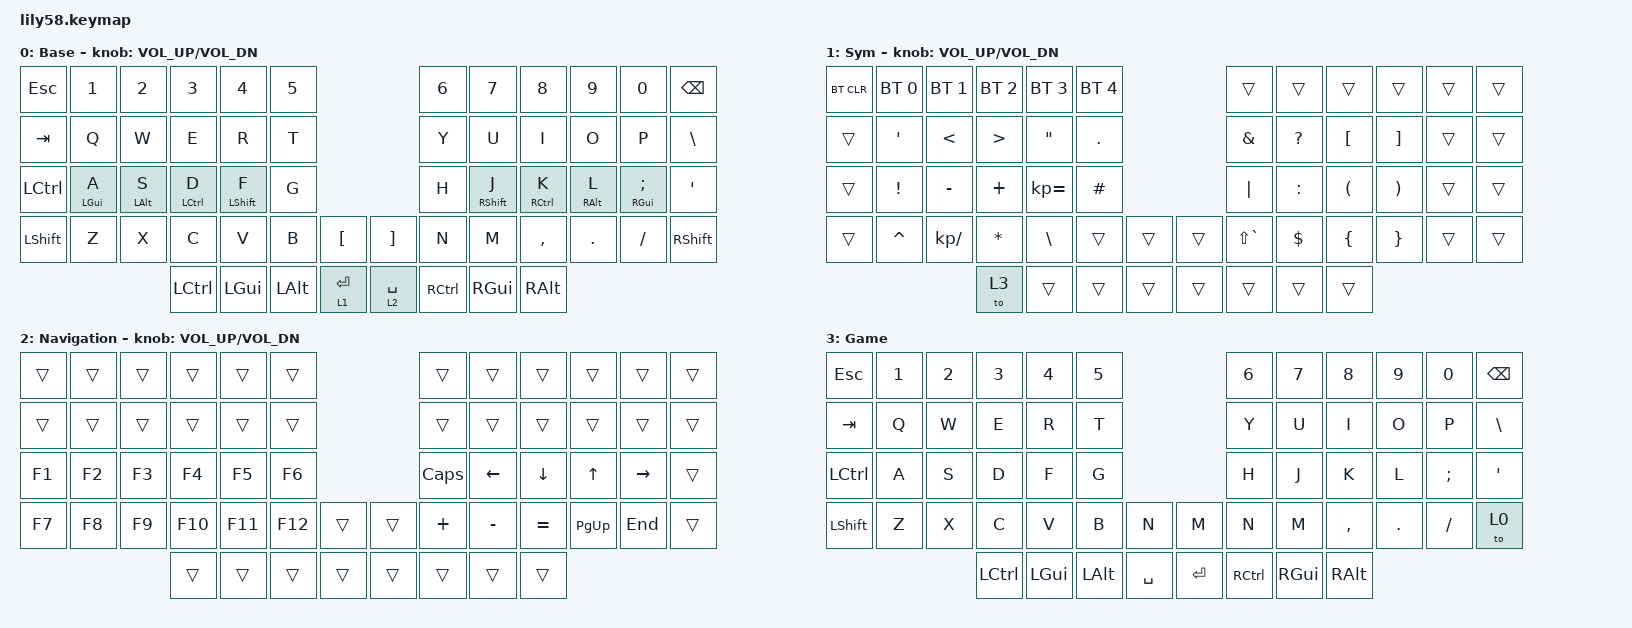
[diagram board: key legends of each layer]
/*
 * Copyright (c) 2020 The ZMK Contributors
 *
 * SPDX-License-Identifier: MIT
 */

#include <behaviors.dtsi>
#include <dt-bindings/zmk/bt.h>
#include <dt-bindings/zmk/keys.h>

/ {
    behaviors {
        RIGHT_HOLD_TAP: RIGHT_HOLD_TAP {
            compatible = "zmk,behavior-hold-tap";
            label = "RIGHT_HOLD_TAP";
            bindings = <&kp>, <&kp>;

            #binding-cells = <2>;
            tapping-term-ms = <280>;
            flavor = "balanced";
            hold-trigger-key-positions = <53 54 0 1 2 3 4 5 17 16 15 14 13 12 24 25 26 27 28 29 42 41 40 39 38 37 36 50 51 52 55 56 57>;
            quick-tap-ms = <175>;
            require-prior-idle-ms = <150>;
            hold-trigger-on-release;
        };

        LEFT_HOLD_TAP: LEFT_HOLD_TAP {
            compatible = "zmk,behavior-hold-tap";
            label = "LEFT_HOLD_TAP";
            #binding-cells = <2>;
            tapping-term-ms = <280>;
            flavor = "balanced";
            hold-trigger-key-positions = <53 54 50 51 52 55 56 57 6 7 8 9 10 11 23 22 21 20 19 18 30 43 44 31 45 32 46 33 47 34 48 35 49>;
            bindings = <&kp>, <&kp>;

            quick-tap-ms = <175>;
            hold-trigger-on-release;
            require-prior-idle-ms = <150>;
        };
    };

    keymap {
        compatible = "zmk,keymap";

        default_layer {
            // ------------------------------------------------------------------------------------------------------------
            // |  ESC  |  1  |  2  |  3   |  4   |  5   |                   |  6   |  7    |  8    |  9   |   0   |   `   |
            // |  TAB  |  Q  |  W  |  E   |  R   |  T   |                   |  Y   |  U    |  I    |  O   |   P   |   -   |
            // |  CTRL |  A  |  S  |  D   |  F   |  G   |                   |  H   |  J    |  K    |  L   |   ;   |   '   |
            // | SHIFT |  Z  |  X  |  C   |  V   |  B   |   "["  |  |  "]"  |  N   |  M    |  ,    |  .   |   /   | SHIFT |
            //                     | ALT  | GUI  | LOWER|  SPACE |  | ENTER | RAISE| BSPC  | GUI   |

            display-name = "Base";
            bindings = <
&kp ESC           &kp N1                     &kp N2                     &kp N3                         &kp N4                       &kp N5                                    &kp N6             &kp N7                         &kp N8                           &kp N9                       &kp N0                               &kp BACKSPACE
&kp TAB           &kp Q                      &kp W                      &kp E                          &kp R                        &kp T                                     &kp Y              &kp U                          &kp I                            &kp O                        &kp P                                &kp BACKSLASH
&kp LEFT_CONTROL  &LEFT_HOLD_TAP LEFT_GUI A  &LEFT_HOLD_TAP LEFT_ALT S  &LEFT_HOLD_TAP LEFT_CONTROL D  &LEFT_HOLD_TAP LEFT_SHIFT F  &kp G                                     &kp H              &RIGHT_HOLD_TAP RIGHT_SHIFT J  &RIGHT_HOLD_TAP RIGHT_CONTROL K  &RIGHT_HOLD_TAP RIGHT_ALT L  &RIGHT_HOLD_TAP RIGHT_GUI SEMICOLON  &kp SQT
&kp LSHFT         &kp Z                      &kp X                      &kp C                          &kp V                        &kp B         &kp LBKT       &kp RBKT     &kp N              &kp M                          &kp COMMA                        &kp DOT                      &kp FSLH                             &kp RSHFT
                                                                        &kp LEFT_CONTROL               &kp LGUI                     &kp LEFT_ALT  &lt 1 ENTER    &lt 2 SPACE  &kp RIGHT_CONTROL  &kp RGUI                       &kp RIGHT_ALT
            >;

            sensor-bindings = <&inc_dec_kp C_VOL_UP C_VOL_DN>;
        };

        symbols {
            // ------------------------------------------------------------------------------------------------------------
            // | BTCLR | BT1 | BT2 |  BT3 |  BT4 |  BT5 |                   |      |       |       |      |       |       |
            // |  F1   |  F2 |  F3 |  F4  |  F5  |  F6  |                   |  F7  |  F8   |  F9   |  F10 |  F11  |  F12  |
            // |   `   |  !  |  @  |  #   |  $   |  %   |                   |  ^   |  &    |  *    |  (   |   )   |   ~   |
            // |       |     |     |      |      |      |        |  |       |      |  _    |  +    |  {   |   }   |  "|"  |
            //                     |      |      |      |        |  |       |      |       |       |

            display-name = "Sym";
            bindings = <
&bt BT_CLR  &bt BT_SEL 0     &bt BT_SEL 1   &bt BT_SEL 2      &bt BT_SEL 3       &bt BT_SEL 4                    &trans         &trans        &trans                &trans                 &trans  &trans
&trans      &kp SQT          &kp LESS_THAN  &kp GREATER_THAN  &kp DOUBLE_QUOTES  &kp PERIOD                      &kp AMPS       &kp QUESTION  &kp LEFT_BRACKET      &kp RIGHT_BRACKET      &trans  &trans
&trans      &kp EXCLAMATION  &kp MINUS      &kp PLUS          &kp KP_EQUAL       &kp HASH                        &kp PIPE       &kp COLON     &kp LEFT_PARENTHESIS  &kp RIGHT_PARENTHESIS  &trans  &trans
&trans      &kp CARET        &kp KP_DIVIDE  &kp ASTRK         &kp BACKSLASH      &trans        &trans    &trans  &kp LS(GRAVE)  &kp DOLLAR    &kp LEFT_BRACE        &kp RIGHT_BRACE        &trans  &trans
                                            &to 3             &trans             &trans        &trans    &trans  &trans         &trans        &trans
            >;

            sensor-bindings = <&inc_dec_kp C_VOL_UP C_VOL_DN>;
            label = "Sym";
        };

        navigation {
            // ------------------------------------------------------------------------------------------------------------
            // |       |     |     |      |      |      |                   |      |       |       |      |       |       |
            // |   `   |  1  |  2  |  3   |  4   |  5   |                   |  6   |   7   |   8   |  9   |   0   |       |
            // |   F1  |  F2 |  F3 |  F4  |  F5  |  F6  |                   |      |   <-  |   v   |  ^   |  ->   |       |
            // |   F7  |  F8 |  F9 |  F10 |  F11 |  F12 |        |  |       |  +   |   -   |   =   |  [   |   ]   |   \   |
            //                     |      |      |      |        |  |       |      |       |       |

            display-name = "Navigation";
            bindings = <
&trans  &trans  &trans  &trans   &trans   &trans                     &trans    &trans     &trans     &trans     &trans     &trans
&trans  &trans  &trans  &trans   &trans   &trans                     &trans    &trans     &trans     &trans     &trans     &trans
&kp F1  &kp F2  &kp F3  &kp F4   &kp F5   &kp F6                     &kp CAPS  &kp LEFT   &kp DOWN   &kp UP     &kp RIGHT  &trans
&kp F7  &kp F8  &kp F9  &kp F10  &kp F11  &kp F12  &trans    &trans  &kp PLUS  &kp MINUS  &kp EQUAL  &kp PG_UP  &kp END    &trans
                        &trans   &trans   &trans   &trans    &trans  &trans    &trans     &trans
            >;

            sensor-bindings = <&inc_dec_kp C_VOL_UP C_VOL_DN>;
            label = "Nav";
        };

        gaming {
            bindings = <
&kp ESC    &kp N1  &kp N2  &kp N3     &kp N4    &kp N5                            &kp N6     &kp N7    &kp N8     &kp N9   &kp N0    &kp BSPC
&kp TAB    &kp Q   &kp W   &kp E      &kp R     &kp T                             &kp Y      &kp U     &kp I      &kp O    &kp P     &kp BSLH
&kp LCTRL  &kp A   &kp S   &kp D      &kp F     &kp G                             &kp H      &kp J     &kp K      &kp L    &kp SEMI  &kp APOS
&kp LSHFT  &kp Z   &kp X   &kp C      &kp V     &kp B     &kp N        &kp M      &kp N      &kp M     &kp COMMA  &kp DOT  &kp FSLH  &to 0
                           &kp LCTRL  &kp LGUI  &kp LALT  &kp SPACE    &kp ENTER  &kp RCTRL  &kp RGUI  &kp RALT
            >;

            label = "Game";
        };
    };
};
